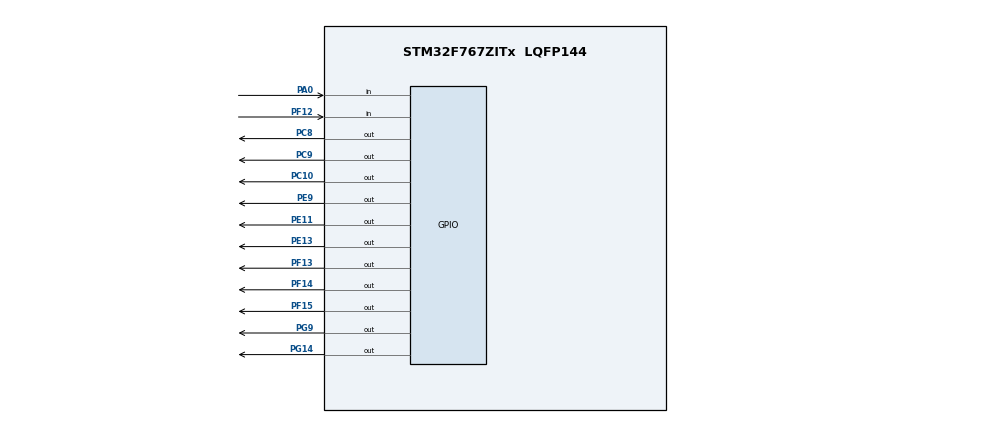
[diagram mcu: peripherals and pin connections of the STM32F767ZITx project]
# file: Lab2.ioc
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Mcu.Family=STM32F7
Mcu.Name=STM32F767ZITx
Mcu.Package=LQFP144
NVIC.PriorityGroup=NVIC_PRIORITYGROUP_4
PA0/WKUP.Signal=GPIO_Input
PC10.Signal=GPIO_Output
PC8.Signal=GPIO_Output
PC9.Signal=GPIO_Output
PE11.Signal=GPIO_Output
PE13.Signal=GPIO_Output
PE9.Signal=GPIO_Output
PF12.Signal=GPIO_Input
PF13.Signal=GPIO_Output
PF14.Signal=GPIO_Output
PF15.Signal=GPIO_Output
PG14.Signal=GPIO_Output
PG9.Signal=GPIO_Output
ProjectManager.HeapSize=0x200
ProjectManager.StackSize=0x400
ProjectManager.TargetToolchain=STM32CubeIDE
RCC.HSE_VALUE=25000000
RCC.HSI_VALUE=16000000
RCC.LSE_VALUE=32768
RCC.USBFreq_Value=96000000
RCC.VCOOutputFreq_Value=192000000
board=custom

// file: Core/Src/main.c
/* USER CODE BEGIN Header */
/**
  ******************************************************************************
  * @file           : main.c
  * @brief          : Main program body
  ******************************************************************************
  * @attention
  *
  * Copyright (c) 2023 STMicroelectronics.
  * All rights reserved.
  *
  * This software is licensed under terms that can be found in the LICENSE file
  * in the root directory of this software component.
  * If no LICENSE file comes with this software, it is provided AS-IS.
  *
  ******************************************************************************
  */
/* USER CODE END Header */
#include "main.h"

/* USER CODE BEGIN PD */
#define D0 GPIOG
#define D0PIN GPIO_PIN_9
#define D1 GPIOG
#define D1PIN GPIO_PIN_14
#define D2 GPIOF
#define D2PIN GPIO_PIN_15
#define D3 GPIOE
#define D3PIN GPIO_PIN_13
#define D4 GPIOF
#define D4PIN GPIO_PIN_14
#define D5 GPIOE
#define D5PIN GPIO_PIN_11
#define D6 GPIOE
#define D6PIN GPIO_PIN_9
#define D7 GPIOF
#define D7PIN GPIO_PIN_13

/* USER CODE END PD */

/* USER CODE BEGIN PV */
	int nowLed = -1;
	int sw1 = 1;
	int lastsw1 = 1;
	int sw2 = 1;
	int lastsw2 = 1;
	int x=0;
/* USER CODE END PV */

void SystemClock_Config(void);
static void MX_GPIO_Init(void);

int main(void)
{

  /* MCU Configuration--------------------------------------------------------*/

  /* Reset of all peripherals, Initializes the Flash interface and the Systick. */
  HAL_Init();

  /* Configure the system clock */
  SystemClock_Config();

  /* Initialize all configured peripherals */
  MX_GPIO_Init();

  /* Infinite loop */
  /* USER CODE BEGIN WHILE */
  while (1)
  {
//	  for(n=0;n<=2;n++){
//		  GPIOC -> BSRR = 0x07000000;
//		  HAL_Delay(500);
//		  GPIOC -> BSRR = 0x00000400 >> n;
//		  HAL_Delay(500);
//	  }
//	  GPIOC -> BSRR = 0x00000700;
//	  HAL_Delay(500);
//	  GPIOC -> BSRR = 0x07000000;
//	  HAL_Delay(500);
	  //Lab2_1
//	  if(HAL_GPIO_ReadPin(GPIOF, GPIO_PIN_12) == 0){
//		  HAL_GPIO_WritePin(GPIOB, GPIO_PIN_0, 1);
//		  HAL_Delay(1000);
//		  HAL_GPIO_WritePin(GPIOB, GPIO_PIN_0, 0);
//	  }

//	  if(HAL_GPIO_ReadPin(GPIOA, GPIO_PIN_0) == 0){
//	  		  HAL_GPIO_WritePin(GPIOC, GPIO_PIN_8, 1);
//	  		  HAL_Delay(1000);
//	  		  HAL_GPIO_WritePin(GPIOC, GPIO_PIN_8, 0);
//	  	  }

	  sw1 = HAL_GPIO_ReadPin(GPIOF, GPIO_PIN_12);
	  if(sw1 == 0 && lastsw1 == 1){
		  HAL_Delay(150);
		  nowLed++;
		  if(nowLed > 7){
			  nowLed = 0;
		  }
		  if(nowLed==0){
			  HAL_GPIO_WritePin(D7, D7PIN, 0);
			  HAL_GPIO_WritePin(D0, D0PIN, 1);
			  HAL_GPIO_WritePin(D1, D1PIN, 0);
		  }
		  else if(nowLed==1){
		  	HAL_GPIO_WritePin(D0, D0PIN, 0);
		  	HAL_GPIO_WritePin(D1, D1PIN, 1);
		  	HAL_GPIO_WritePin(D2, D2PIN, 0);
		  }
		  else if(nowLed==2){
		  		  	HAL_GPIO_WritePin(D1, D1PIN, 0);
		  		  	HAL_GPIO_WritePin(D2, D2PIN, 1);
		  		  HAL_GPIO_WritePin(D3, D3PIN, 0);
		  		  }
		  else if(nowLed==3){
		  		  	HAL_GPIO_WritePin(D2, D2PIN, 0);
		  		  	HAL_GPIO_WritePin(D3, D3PIN, 1);
		  		    HAL_GPIO_WritePin(D4, D4PIN, 0);
		  		  }
		  else if(nowLed==4){
		  		  	HAL_GPIO_WritePin(D3, D3PIN, 0);
		  		  	HAL_GPIO_WritePin(D4, D4PIN, 1);
		  		    HAL_GPIO_WritePin(D5, D5PIN, 0);
		  		  }
		  else if(nowLed==5){
		  		  	HAL_GPIO_WritePin(D4, D4PIN, 0);
		  		  	HAL_GPIO_WritePin(D5, D5PIN, 1);
		  		  HAL_GPIO_WritePin(D6, D6PIN, 0);
		  		  }
		  else if(nowLed==6){
		  		  	HAL_GPIO_WritePin(D5, D5PIN, 0);
		  		  	HAL_GPIO_WritePin(D6, D6PIN, 1);
		  		  HAL_GPIO_WritePin(D7, D7PIN, 0);
		  		  }
		  else if(nowLed==7){
		  		  	HAL_GPIO_WritePin(D6, D6PIN, 0);
		  		  	HAL_GPIO_WritePin(D7, D7PIN, 1);
		  		  HAL_GPIO_WritePin(D0, D0PIN, 0);
		  		  }
	  }
	  lastsw1=sw1;

	  sw2 = HAL_GPIO_ReadPin(GPIOA, GPIO_PIN_0);
	  if(sw2 == 0 && lastsw2 == 1){
		  HAL_Delay(150);
		  if(nowLed == -1){
			  x=1;
		  }
		  for (int i=0;i<8;i++){
			  nowLed--;
			  if(nowLed<0){
				  nowLed=7;
			  }

			  if(nowLed==0){
			  			  HAL_GPIO_WritePin(D7, D7PIN, 0);
			  			  HAL_GPIO_WritePin(D0, D0PIN, 1);
			  			  HAL_GPIO_WritePin(D1, D1PIN, 0);
			  		  }
			  		  else if(nowLed==1){
			  		  	HAL_GPIO_WritePin(D0, D0PIN, 0);
			  		  	HAL_GPIO_WritePin(D1, D1PIN, 1);
			  		  	HAL_GPIO_WritePin(D2, D2PIN, 0);
			  		  }
			  		  else if(nowLed==2){
			  		  		  	HAL_GPIO_WritePin(D1, D1PIN, 0);
			  		  		  	HAL_GPIO_WritePin(D2, D2PIN, 1);
			  		  		  HAL_GPIO_WritePin(D3, D3PIN, 0);
			  		  		  }
			  		  else if(nowLed==3){
			  		  		  	HAL_GPIO_WritePin(D2, D2PIN, 0);
			  		  		  	HAL_GPIO_WritePin(D3, D3PIN, 1);
			  		  		    HAL_GPIO_WritePin(D4, D4PIN, 0);
			  		  		  }
			  		  else if(nowLed==4){
			  		  		  	HAL_GPIO_WritePin(D3, D3PIN, 0);
			  		  		  	HAL_GPIO_WritePin(D4, D4PIN, 1);
			  		  		    HAL_GPIO_WritePin(D5, D5PIN, 0);
			  		  		  }
			  		  else if(nowLed==5){
			  		  		  	HAL_GPIO_WritePin(D4, D4PIN, 0);
			  		  		  	HAL_GPIO_WritePin(D5, D5PIN, 1);
			  		  		  HAL_GPIO_WritePin(D6, D6PIN, 0);
			  		  		  }
			  		  else if(nowLed==6){
			  		  		  	HAL_GPIO_WritePin(D5, D5PIN, 0);
			  		  		  	HAL_GPIO_WritePin(D6, D6PIN, 1);
			  		  		  HAL_GPIO_WritePin(D7, D7PIN, 0);
			  		  		  }
			  		  else if(nowLed==7){
			  		  		  	HAL_GPIO_WritePin(D6, D6PIN, 0);
			  		  		  	HAL_GPIO_WritePin(D7, D7PIN, 1);
			  		  		  HAL_GPIO_WritePin(D0, D0PIN, 0);
			  		  		  }
			  HAL_Delay(500);
		  }
		  if(x==1){
			  x=0;
		  		HAL_GPIO_WritePin(D0, D0PIN, 0);
		  		nowLed=-1;
		  }
	  }
	  lastsw2=sw2;

    /* USER CODE END WHILE */

  }
}

void SystemClock_Config(void)
{
  RCC_OscInitTypeDef RCC_OscInitStruct = {0};
  RCC_ClkInitTypeDef RCC_ClkInitStruct = {0};

  /** Configure the main internal regulator output voltage
  */
  __HAL_RCC_PWR_CLK_ENABLE();
  __HAL_PWR_VOLTAGESCALING_CONFIG(PWR_REGULATOR_VOLTAGE_SCALE3);

  /** Initializes the RCC Oscillators according to the specified parameters
  * in the RCC_OscInitTypeDef structure.
  */
  RCC_OscInitStruct.OscillatorType = RCC_OSCILLATORTYPE_HSI;
  RCC_OscInitStruct.HSIState = RCC_HSI_ON;
  RCC_OscInitStruct.HSICalibrationValue = RCC_HSICALIBRATION_DEFAULT;
  RCC_OscInitStruct.PLL.PLLState = RCC_PLL_NONE;
  if (HAL_RCC_OscConfig(&RCC_OscInitStruct) != HAL_OK)
  {
    Error_Handler();
  }

  /** Initializes the CPU, AHB and APB buses clocks
  */
  RCC_ClkInitStruct.ClockType = RCC_CLOCKTYPE_HCLK|RCC_CLOCKTYPE_SYSCLK
                              |RCC_CLOCKTYPE_PCLK1|RCC_CLOCKTYPE_PCLK2;
  RCC_ClkInitStruct.SYSCLKSource = RCC_SYSCLKSOURCE_HSI;
  RCC_ClkInitStruct.AHBCLKDivider = RCC_SYSCLK_DIV1;
  RCC_ClkInitStruct.APB1CLKDivider = RCC_HCLK_DIV1;
  RCC_ClkInitStruct.APB2CLKDivider = RCC_HCLK_DIV1;

  if (HAL_RCC_ClockConfig(&RCC_ClkInitStruct, FLASH_LATENCY_0) != HAL_OK)
  {
    Error_Handler();
  }
}

static void MX_GPIO_Init(void)
{
  GPIO_InitTypeDef GPIO_InitStruct = {0};

  /* GPIO Ports Clock Enable */
  __HAL_RCC_GPIOA_CLK_ENABLE();
  __HAL_RCC_GPIOF_CLK_ENABLE();
  __HAL_RCC_GPIOE_CLK_ENABLE();
  __HAL_RCC_GPIOC_CLK_ENABLE();
  __HAL_RCC_GPIOG_CLK_ENABLE();

  /*Configure GPIO pin Output Level */
  HAL_GPIO_WritePin(GPIOF, GPIO_PIN_13|GPIO_PIN_14|GPIO_PIN_15, GPIO_PIN_RESET);

  /*Configure GPIO pin Output Level */
  HAL_GPIO_WritePin(GPIOE, GPIO_PIN_9|GPIO_PIN_11|GPIO_PIN_13, GPIO_PIN_RESET);

  /*Configure GPIO pin Output Level */
  HAL_GPIO_WritePin(GPIOC, GPIO_PIN_8|GPIO_PIN_9|GPIO_PIN_10, GPIO_PIN_RESET);

  /*Configure GPIO pin Output Level */
  HAL_GPIO_WritePin(GPIOG, GPIO_PIN_9|GPIO_PIN_14, GPIO_PIN_RESET);

  /*Configure GPIO pin : PA0 */
  GPIO_InitStruct.Pin = GPIO_PIN_0;
  GPIO_InitStruct.Mode = GPIO_MODE_INPUT;
  GPIO_InitStruct.Pull = GPIO_NOPULL;
  HAL_GPIO_Init(GPIOA, &GPIO_InitStruct);

  /*Configure GPIO pin : PF12 */
  GPIO_InitStruct.Pin = GPIO_PIN_12;
  GPIO_InitStruct.Mode = GPIO_MODE_INPUT;
  GPIO_InitStruct.Pull = GPIO_NOPULL;
  HAL_GPIO_Init(GPIOF, &GPIO_InitStruct);

  /*Configure GPIO pins : PF13 PF14 PF15 */
  GPIO_InitStruct.Pin = GPIO_PIN_13|GPIO_PIN_14|GPIO_PIN_15;
  GPIO_InitStruct.Mode = GPIO_MODE_OUTPUT_PP;
  GPIO_InitStruct.Pull = GPIO_NOPULL;
  GPIO_InitStruct.Speed = GPIO_SPEED_FREQ_LOW;
  HAL_GPIO_Init(GPIOF, &GPIO_InitStruct);

  /*Configure GPIO pins : PE9 PE11 PE13 */
  GPIO_InitStruct.Pin = GPIO_PIN_9|GPIO_PIN_11|GPIO_PIN_13;
  GPIO_InitStruct.Mode = GPIO_MODE_OUTPUT_PP;
  GPIO_InitStruct.Pull = GPIO_NOPULL;
  GPIO_InitStruct.Speed = GPIO_SPEED_FREQ_LOW;
  HAL_GPIO_Init(GPIOE, &GPIO_InitStruct);

  /*Configure GPIO pins : PC8 PC9 PC10 */
  GPIO_InitStruct.Pin = GPIO_PIN_8|GPIO_PIN_9|GPIO_PIN_10;
  GPIO_InitStruct.Mode = GPIO_MODE_OUTPUT_PP;
  GPIO_InitStruct.Pull = GPIO_NOPULL;
  GPIO_InitStruct.Speed = GPIO_SPEED_FREQ_LOW;
  HAL_GPIO_Init(GPIOC, &GPIO_InitStruct);

  /*Configure GPIO pins : PG9 PG14 */
  GPIO_InitStruct.Pin = GPIO_PIN_9|GPIO_PIN_14;
  GPIO_InitStruct.Mode = GPIO_MODE_OUTPUT_PP;
  GPIO_InitStruct.Pull = GPIO_NOPULL;
  GPIO_InitStruct.Speed = GPIO_SPEED_FREQ_LOW;
  HAL_GPIO_Init(GPIOG, &GPIO_InitStruct);

}

void Error_Handler(void)
{
  __disable_irq();
  while (1)
  {
  }
}
